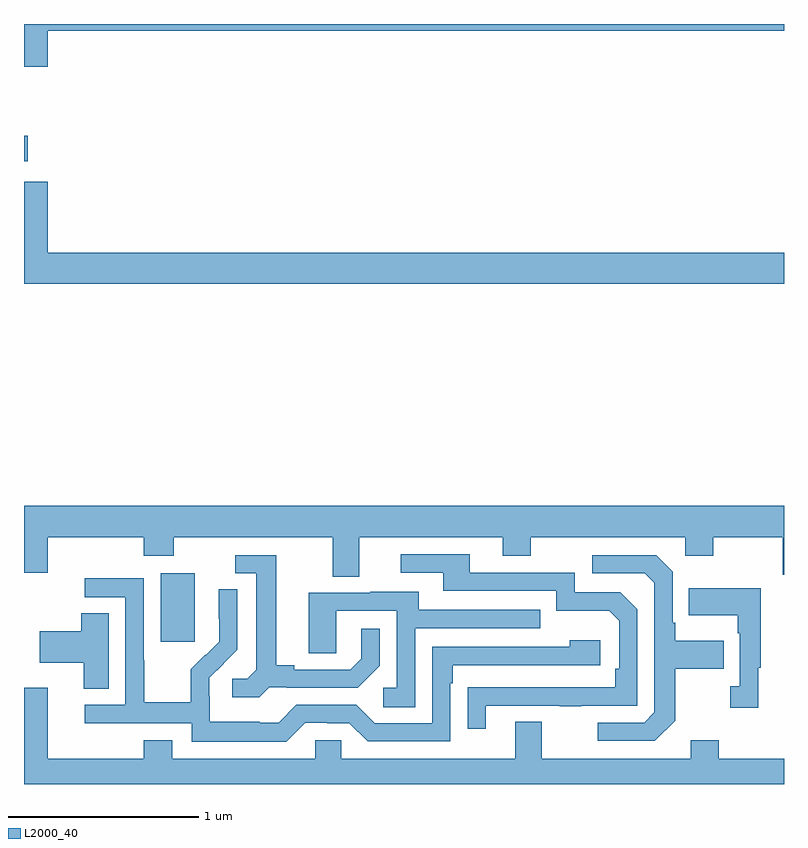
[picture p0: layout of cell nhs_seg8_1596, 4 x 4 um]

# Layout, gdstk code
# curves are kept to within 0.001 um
import gdstk
lib = gdstk.Library(unit=1e-6, precision=1e-09)
def R(c, l, rs):  # rectangles x0, y0, x1, y1
    for r in rs: c.add(gdstk.rectangle(r[:2], r[2:], *l))
def P(c, l, *ps):  # polygons
    for p in ps: c.add(gdstk.Polygon(p, *l))
L2000_40 = (2000, 40)

nhs_seg8_1596 = lib.new_cell('nhs_seg8_1596')
R(nhs_seg8_1596, L2000_40, [(213.719,1082.649,213.898,1083.01), (213,1085.177,213.019,1085.312)])
P(nhs_seg8_1596, L2000_40, [(213.124,1085.864),(217,1085.864),(217,1085.9),(213,1085.9),(213,1085.676),(213.124,1085.676)],
  [(217,1084.696),(213.124,1084.696),(213.124,1085.071),(213,1085.071),(213,1084.532),(217,1084.532)],
  [(213,1083.012),(213.124,1083.012),(213.124,1083.2),(213.629,1083.2),(213.629,1083.101),(213.789,1083.101),(213.789,1083.2),(214.625,1083.2),(214.625,1082.992),(214.765,1082.992),(214.765,1083.2),(215.519,1083.2),(215.519,1083.101),(215.667,1083.101),(215.667,1083.2),(216.48,1083.2),(216.48,1083.101),(216.627,1083.101),(216.627,1083.2),(216.994,1083.2),(216.994,1083.001),(217,1083.001),(217,1083.364),(213,1083.364)],
  [(215.431,1082.313),(215.821,1082.313),(215.821,1082.308),(215.933,1082.308),(215.933,1082.313),(216.228,1082.313),(216.228,1082.82),(216.138,1082.91),(215.898,1082.91),(215.898,1083.012),(215.347,1083.012),(215.347,1083.108),(214.983,1083.108),(214.983,1083.012),(215.207,1083.012),(215.207,1082.916),(215.802,1082.916),(215.802,1082.813),(216.079,1082.813),(216.132,1082.76),(216.132,1082.506),(216.112,1082.506),(216.112,1082.409),(215.335,1082.408),(215.335,1082.19),(215.431,1082.19)],
  [(216.427,1082.233),(216.427,1082.506),(216.683,1082.506),(216.683,1082.653),(216.427,1082.653),(216.427,1082.749),(216.414,1082.749),(216.414,1083.018),(216.327,1083.105),(215.991,1083.105),(215.991,1083.009),(216.267,1083.009),(216.318,1082.958),(216.318,1082.277),(216.264,1082.223),(216.021,1082.223),(216.021,1082.127),(216.321,1082.127)],
  [(214.29,1082.409),(214.384,1082.409),(214.384,1082.406),(214.756,1082.406),(214.872,1082.522),(214.872,1082.716),(214.775,1082.716),(214.775,1082.559),(214.718,1082.502),(214.423,1082.502),(214.423,1082.525),(214.327,1082.525),(214.327,1083.105),(214.113,1083.105),(214.113,1083.009),(214.223,1083.009),(214.223,1082.501),(214.176,1082.454),(214.095,1082.454),(214.095,1082.357),(214.238,1082.357)],
  [(214.479,1082.223),(214.595,1082.223),(214.595,1082.22),(214.713,1082.22),(214.809,1082.124),(215.244,1082.124),(215.244,1082.429),(215.257,1082.429),(215.257,1082.526),(216.034,1082.526),(216.034,1082.656),(215.873,1082.656),(215.873,1082.622),(215.148,1082.622),(215.148,1082.22),(214.845,1082.22),(214.749,1082.316),(214.434,1082.316),(214.341,1082.223),(214.241,1082.223),(214.241,1082.227),(213.978,1082.227),(213.978,1082.361),(213.976,1082.361),(213.976,1082.458),(214.122,1082.606),(214.122,1082.924),(214.026,1082.924),(214.026,1082.77),(214.028,1082.77),(214.028,1082.648),(213.957,1082.577),(213.954,1082.58),(213.877,1082.503),(213.877,1082.329),(213.633,1082.329),(213.633,1082.552),(213.63,1082.552),(213.63,1082.982),(213.321,1082.982),(213.321,1082.883),(213.534,1082.883),(213.534,1082.316),(213.321,1082.316),(213.321,1082.22),(213.882,1082.22),(213.882,1082.123),(214.379,1082.123)],
  [(216.865,1082.513),(216.877,1082.513),(216.877,1082.929),(216.499,1082.929),(216.499,1082.789),(216.756,1082.789),(216.756,1082.693),(216.768,1082.693),(216.768,1082.414),(216.717,1082.414),(216.717,1082.301),(216.865,1082.301)],
  [(215.058,1082.721),(215.717,1082.721),(215.717,1082.817),(215.077,1082.817),(215.077,1082.911),(214.823,1082.911),(214.823,1082.907),(214.499,1082.907),(214.499,1082.587),(214.644,1082.587),(214.644,1082.811),(214.962,1082.811),(214.962,1082.406),(214.89,1082.406),(214.89,1082.305),(215.058,1082.305)],
  [(213.445,1082.798),(213.302,1082.798),(213.302,1082.703),(213.084,1082.703),(213.084,1082.537),(213.314,1082.537),(213.314,1082.401),(213.445,1082.401)],
  [(217,1082.032),(216.657,1082.032),(216.657,1082.131),(216.509,1082.131),(216.509,1082.032),(215.725,1082.032),(215.725,1082.227),(215.585,1082.227),(215.585,1082.032),(214.671,1082.032),(214.671,1082.13),(214.533,1082.13),(214.533,1082.032),(213.781,1082.032),(213.781,1082.131),(213.629,1082.131),(213.629,1082.032),(213.124,1082.032),(213.124,1082.407),(213,1082.407),(213,1081.9),(217,1081.9)])

lib.write_gds('nhs_seg8_1596.gds')
